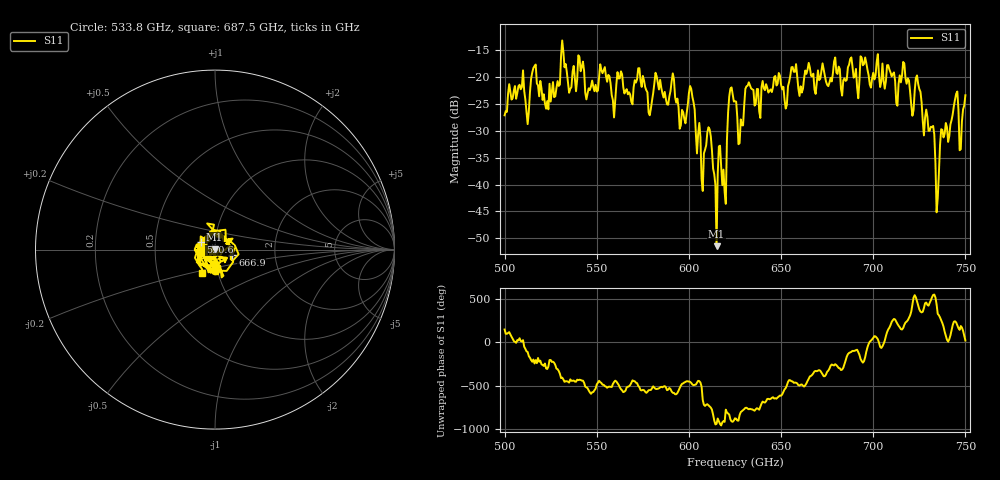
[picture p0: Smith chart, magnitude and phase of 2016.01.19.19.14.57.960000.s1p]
!Created with skrf (http://scikit-rf.org).
# GHz S RI R 50.0
!freq ReS11 ImS11
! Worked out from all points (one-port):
!   401 points, 500 GHz to 750 GHz, reference 50 ohm
!   lowest |S11| = -51.5 dB at 615 GHz (marker M1), VSWR 1.01, Z = 49.8 + j0.17 ohm
!   |S11| at or under -10 dB: start of sweep to end of sweep
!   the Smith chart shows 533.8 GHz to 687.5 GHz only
!   S11 on the Smith chart (normalised r, x): 533.8 GHz: 0.98, -0.22; 590.6 GHz: 0.85, +0.07; 666.9 GHz: 1.21, -0.07; 687.5 GHz: 0.84, -0.22
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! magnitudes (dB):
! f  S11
! 500 GHz  -27.1
! 508.8 GHz  -22.3
! 512.5 GHz  -28.8
! 515.6 GHz  -18.3
! 522.5 GHz  -25.9
! 531.2 GHz  -13.2
! 533.8 GHz  -19.1
! 562.5 GHz  -20.2
! 578.8 GHz  -27.1
! 590.6 GHz  -20.8
! 593.8 GHz  -24.0
! 601.2 GHz  -22.2
! 607.5 GHz  -41.2
! 611.2 GHz  -29.7
! 615 GHz  -51.5
! 618.8 GHz  -37.2
! 622.5 GHz  -22.2
! 625 GHz  -24.5
! 628.1 GHz  -27.9
! 631.9 GHz  -21.6
! 656.2 GHz  -18.1
! 666.9 GHz  -19.9
! 687.5 GHz  -16.7
! 718.8 GHz  -20.3
! 724.4 GHz  -21.3
! 735 GHz  -42.5
! 738.1 GHz  -31.2
! 750 GHz  -23.4
